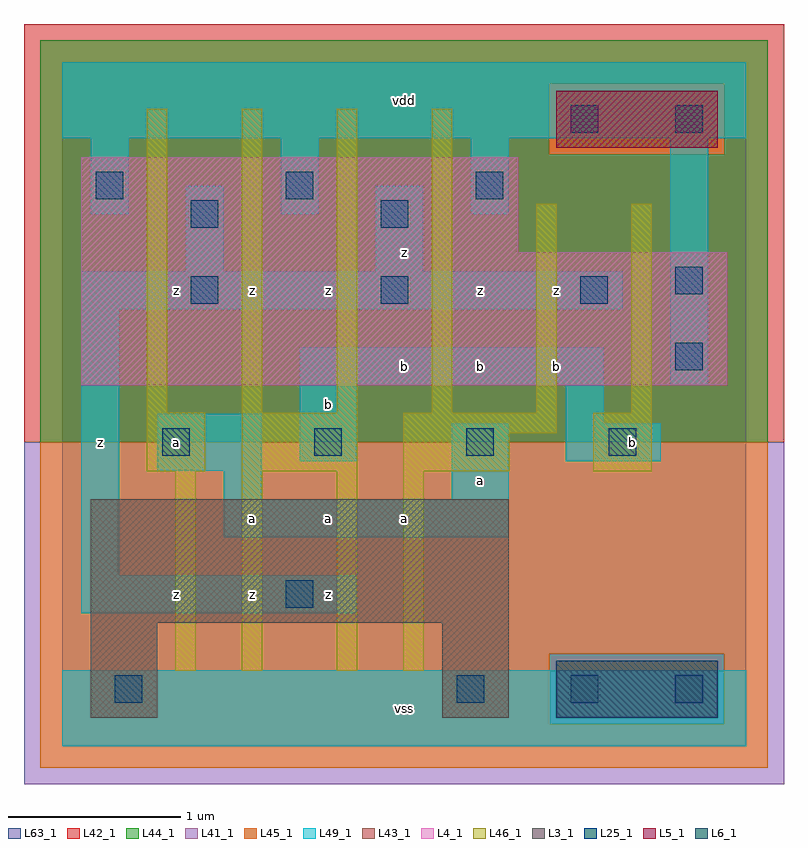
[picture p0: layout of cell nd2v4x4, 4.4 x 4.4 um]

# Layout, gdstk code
import gdstk
lib = gdstk.Library(unit=1e-6, precision=1e-09)
def R(c, l, rs):  # rectangles x0, y0, x1, y1
    for r in rs: c.add(gdstk.rectangle(r[:2], r[2:], *l))
def A(c, l, x, y, w, h, nx, ny, dx, dy):  # array of equal rectangles
    R(c, l, [(x+i*dx, y+j*dy, x+i*dx+w, y+j*dy+h) for i in range(nx) for j in range(ny)])
L3_1 = (3, 1)
L4_1 = (4, 1)
L5_1 = (5, 1)
L6_1 = (6, 1)
L25_1 = (25, 1)
L41_1 = (41, 1)
L42_1 = (42, 1)
L43_1 = (43, 1)
L44_1 = (44, 1)
L45_1 = (45, 1)
L46_1 = (46, 1)
L49_1 = (49, 1)
L63_1 = (63, 1)

nd2v4x4 = lib.new_cell('nd2v4x4')
R(nd2v4x4, L3_1, [(0.165,0.165,0.55,0.715), (2.2,0.165,2.585,0.715), (0.165,0.715,2.585,1.43)])
R(nd2v4x4, L4_1, [(0.11,2.09,3.85,2.86), (0.11,2.86,2.64,3.41)])
R(nd2v4x4, L5_1, [(2.86,3.465,3.795,3.795)])
R(nd2v4x4, L6_1, [(2.86,0.165,3.795,0.495)])
A(nd2v4x4, L25_1, 0.58, 1.68, 0.16, 0.16, 3, 1, 0.88, 0)
A(nd2v4x4, L25_1, 0.195, 3.165, 0.16, 0.16, 3, 1, 1.1, 0)
R(nd2v4x4, L25_1, [(0.305,0.25,0.465,0.41), (2.285,0.25,2.445,0.41), (2.945,0.25,3.105,0.41), (3.55,0.25,3.71,0.41), (1.295,0.8,1.455,0.96), (3.165,1.68,3.325,1.84), (3.55,2.175,3.71,2.335), (0.745,2.56,0.905,2.72), (1.845,2.56,2.005,2.72), (3,2.56,3.16,2.72), (3.55,2.615,3.71,2.775), (0.745,3,0.905,3.16), (1.845,3,2.005,3.16), (2.945,3.55,3.105,3.71), (3.55,3.55,3.71,3.71)])
R(nd2v4x4, L41_1, [(-0.22,-0.22,4.18,1.76)])
R(nd2v4x4, L42_1, [(-0.22,1.76,4.18,4.18)])
R(nd2v4x4, L43_1, [(0.165,0.165,0.55,0.715), (2.2,0.165,2.585,0.715), (2.86,0.165,3.795,0.495), (0.165,0.715,2.585,1.43), (0.11,2.09,3.85,2.86), (0.11,2.86,2.64,3.41), (2.86,3.465,3.795,3.795)])
R(nd2v4x4, L44_1, [(2.82,0.125,3.835,0.535), (-0.125,1.76,4.085,3.425), (-0.125,3.425,2.82,3.835), (3.835,3.425,4.085,3.835), (-0.125,3.835,4.085,4.085)])
R(nd2v4x4, L45_1, [(-0.125,-0.125,4.085,0.125), (-0.125,0.125,2.82,0.535), (3.835,0.125,4.085,0.535), (-0.125,0.535,4.085,1.76), (2.82,3.425,3.835,3.835)])
A(nd2v4x4, L46_1, 0.49, 1.93, 0.12, 1.76, 4, 1, 0.55, 0)
R(nd2v4x4, L46_1, [(0.655,0.435,0.775,1.59), (1.04,0.435,1.16,1.59), (1.59,0.435,1.71,1.59), (1.975,0.435,2.095,1.59), (0.49,1.59,0.83,1.93), (1.04,1.59,1.71,1.93), (1.975,1.59,2.59,1.81), (3.075,1.59,3.415,1.93), (1.975,1.81,2.865,1.93), (2.745,1.93,2.865,3.14), (3.295,1.93,3.415,3.14)])
A(nd2v4x4, L49_1, 0.165, 3.08, 0.22, 0.44, 3, 1, 1.1, 0)
R(nd2v4x4, L49_1, [(0,0,3.96,0.44), (0.11,0.77,1.705,0.99), (0.11,0.99,0.33,2.53), (0.935,1.21,2.585,1.43), (0.935,1.43,1.155,1.595), (2.255,1.43,2.585,1.87), (0.55,1.595,1.155,1.925), (1.375,1.65,1.705,2.09), (2.915,1.65,3.465,1.87), (2.915,1.87,3.135,2.09), (1.375,2.09,3.135,2.31), (3.52,2.09,3.74,3.52), (0.11,2.53,3.245,2.75), (0.715,2.75,0.935,3.245), (1.815,2.75,2.09,3.245), (0,3.52,3.96,3.96)])
R(nd2v4x4, L63_1, [(0,0,3.96,3.96)])
nd2v4x4.add(gdstk.Label('z', (0.22,1.76), layer=49, texttype=1))
nd2v4x4.add(gdstk.Label('z', (1.1,0.88), layer=49, texttype=1))
nd2v4x4.add(gdstk.Label('z', (0.66,0.88), layer=49, texttype=1))
nd2v4x4.add(gdstk.Label('a', (1.1,1.32), layer=49, texttype=1))
nd2v4x4.add(gdstk.Label('a', (0.66,1.76), layer=49, texttype=1))
nd2v4x4.add(gdstk.Label('z', (0.66,2.64), layer=49, texttype=1))
nd2v4x4.add(gdstk.Label('z', (1.1,2.64), layer=49, texttype=1))
nd2v4x4.add(gdstk.Label('vss', (1.98,0.22), layer=49, texttype=1))
nd2v4x4.add(gdstk.Label('z', (1.54,0.88), layer=49, texttype=1))
nd2v4x4.add(gdstk.Label('a', (1.54,1.32), layer=49, texttype=1))
nd2v4x4.add(gdstk.Label('a', (1.98,1.32), layer=49, texttype=1))
nd2v4x4.add(gdstk.Label('b', (1.54,1.98), layer=49, texttype=1))
nd2v4x4.add(gdstk.Label('b', (1.98,2.2), layer=49, texttype=1))
nd2v4x4.add(gdstk.Label('z', (1.54,2.64), layer=49, texttype=1))
nd2v4x4.add(gdstk.Label('z', (1.98,2.86), layer=49, texttype=1))
nd2v4x4.add(gdstk.Label('vdd', (1.98,3.74), layer=49, texttype=1))
nd2v4x4.add(gdstk.Label('a', (2.42,1.54), layer=49, texttype=1))
nd2v4x4.add(gdstk.Label('b', (2.42,2.2), layer=49, texttype=1))
nd2v4x4.add(gdstk.Label('b', (2.86,2.2), layer=49, texttype=1))
nd2v4x4.add(gdstk.Label('z', (2.42,2.64), layer=49, texttype=1))
nd2v4x4.add(gdstk.Label('z', (2.86,2.64), layer=49, texttype=1))
nd2v4x4.add(gdstk.Label('b', (3.3,1.76), layer=49, texttype=1))

lib.write_gds('nd2v4x4.gds')
